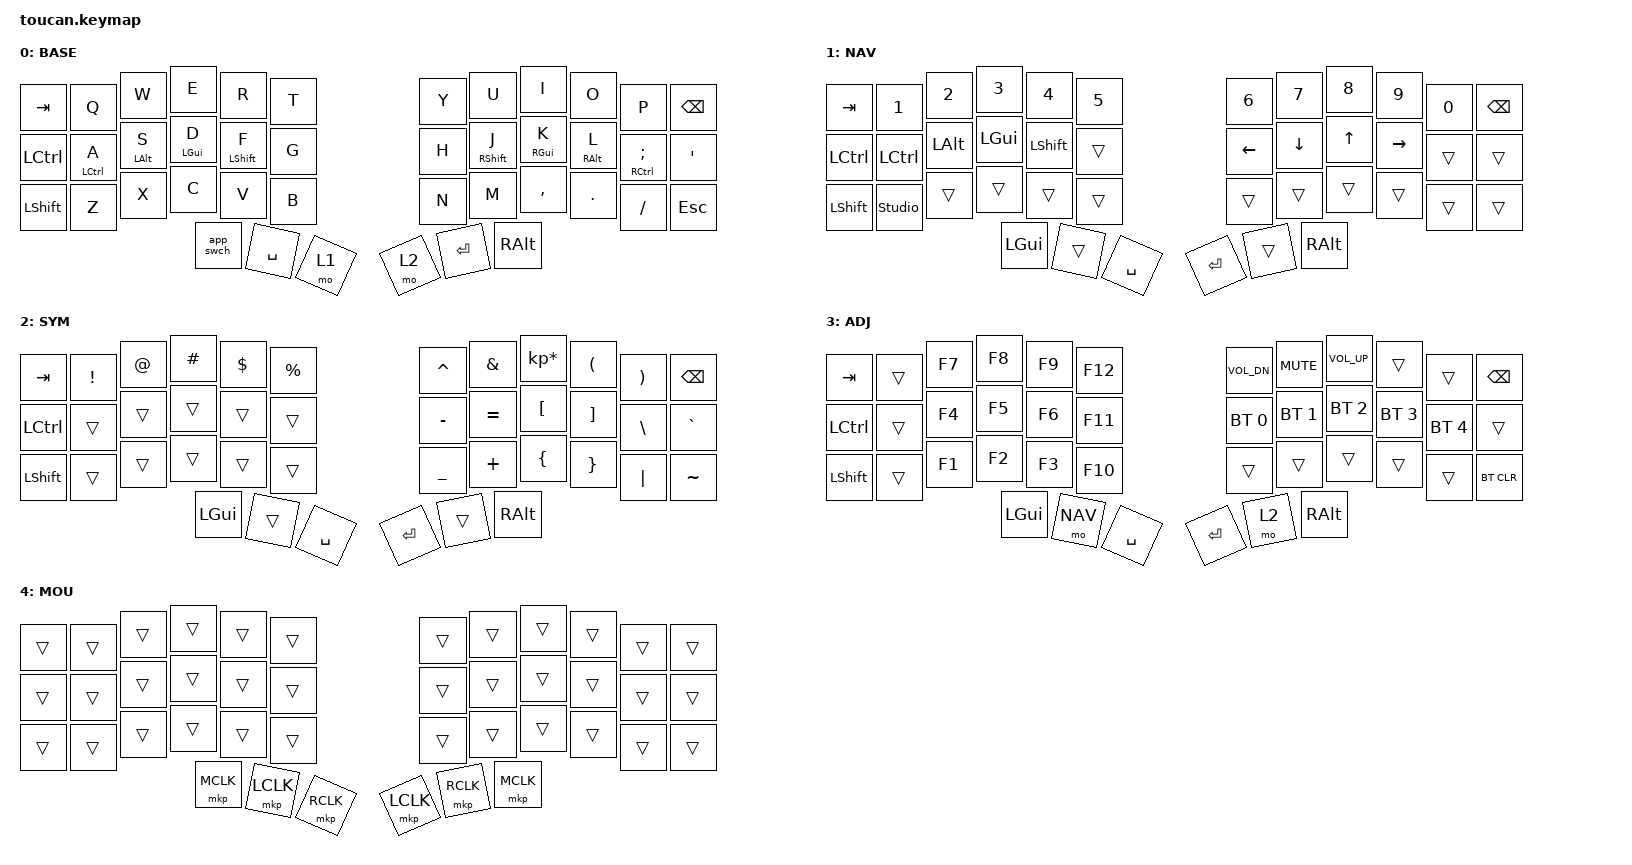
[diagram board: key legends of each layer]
#include <behaviors.dtsi>
#include <dt-bindings/zmk/keys.h>
#include <dt-bindings/zmk/bt.h>
#include <dt-bindings/zmk/outputs.h>
#include <dt-bindings/zmk/pointing.h>

#define BASE 0
#define NAV  1
#define SYM  2
#define ADJ  3

// Key positions for chordal hold (see toucan.dtsi)
#define KEYS_L 0 1 2 3 4 5 12 13 14 15 16 17 24 25 26 27 28 29
#define KEYS_R 6 7 8 9 10 11 18 19 20 21 22 23 30 31 32 33 34 35
#define THUMBS 36 37 38 39 40 41

/ {
    conditional_layers {
        compatible = "zmk,conditional-layers";
        tri_layer {
            if-layers = <1 2>;
            then-layer = <3>;
        };
    };

    behaviors {
        hml: home_row_mod_left {
            compatible = "zmk,behavior-hold-tap";
            #binding-cells = <2>;
            flavor = "balanced";
            tapping-term-ms = <280>;
            quick-tap-ms = <175>;
            require-prior-idle-ms = <150>;
            bindings = <&kp>, <&kp>;
            hold-trigger-key-positions = <KEYS_R THUMBS>;
            hold-trigger-on-release;
        };

        hmr: home_row_mod_right {
            compatible = "zmk,behavior-hold-tap";
            #binding-cells = <2>;
            flavor = "balanced";
            tapping-term-ms = <280>;
            quick-tap-ms = <175>;
            require-prior-idle-ms = <150>;
            bindings = <&kp>, <&kp>;
            hold-trigger-key-positions = <KEYS_L THUMBS>;
            hold-trigger-on-release;
        };
    };

    macros {
        // macOS app switcher: hold Cmd, tap Tab, keep Cmd held until key release
        app_swch: app_switch {
            compatible = "zmk,behavior-macro";
            #binding-cells = <0>;
            wait-ms = <10>;
            tap-ms = <10>;
            bindings
                = <&macro_press &kp LGUI>
                , <&macro_tap &kp TAB>
                , <&macro_pause_for_release>
                , <&macro_release &kp LGUI>
                ;
        };
    };

    keymap {
        compatible = "zmk,keymap";

        base {
            display-name = "BASE";
            bindings = <
                &kp TAB   &kp Q &kp W &kp E &kp R &kp T   &kp Y &kp U  &kp I     &kp O   &kp P    &kp BSPC
                &kp LCTRL &hml LCTRL A &hml LALT S &hml LGUI D &hml LSHFT F &kp G   &kp H &hmr RSHFT J &hmr RGUI K &hmr RALT L &hmr RCTRL SEMI &kp SQT
                &kp LSHFT &kp Z &kp X &kp C &kp V &kp B   &kp N &kp M  &kp COMMA &kp DOT &kp FSLH &kp ESC
                                &app_swch &kp SPACE &mo 1   &mo 2 &kp RET   &kp RALT
            >;
        };

        nav {
            display-name = "NAV";
            bindings = <
                &kp TAB     &kp N1          &kp N2       &kp N3       &kp N4       &kp N5         &kp N6   &kp N7   &kp N8 &kp N9    &kp N0 &kp BSPC
                &kp LCTRL   &kp LCTRL       &kp LALT     &kp LGUI     &kp LSHFT    &trans         &kp LEFT &kp DOWN &kp UP &kp RIGHT &trans &trans
                &kp LSHFT   &studio_unlock  &trans       &trans       &trans       &trans         &trans   &trans   &trans &trans    &trans &trans
                                                &kp LGUI     &trans       &kp SPACE        &kp RET    &trans   &kp RALT
            >;
        };

        sym {
            display-name = "SYM";
            bindings = <
                &kp TAB   &kp EXCL &kp AT &kp HASH &kp DLLR &kp PRCNT   &kp CARET &kp AMPS  &kp KP_MULTIPLY &kp LPAR &kp RPAR &kp BSPC
                &kp LCTRL &trans   &trans &trans   &trans   &trans      &kp MINUS &kp EQUAL &kp LBKT        &kp RBKT &kp BSLH &kp GRAVE
                &kp LSHFT &trans   &trans &trans   &trans   &trans      &kp UNDER &kp PLUS  &kp LBRC        &kp RBRC &kp PIPE &kp TILDE
                                          &kp LGUI &trans   &kp SPACE   &kp RET     &trans    &kp RALT
            >;
        };

        adj {
            display-name = "ADJ";
            bindings = <
                &kp TAB   &trans &kp F7 &kp F8 &kp F9 &kp F12   &kp C_VOL_DN &kp C_MUTE  &kp C_VOL_UP &trans &trans &kp BSPC
                &kp LCTRL &trans &kp F4 &kp F5 &kp F6 &kp F11   &bt BT_SEL 0 &bt BT_SEL 1 &bt BT_SEL 2 &bt BT_SEL 3 &bt BT_SEL 4 &trans
                &kp LSHFT &trans &kp F1 &kp F2 &kp F3 &kp F10   &trans       &trans      &trans       &trans &trans &bt BT_CLR
                                   &kp LGUI &mo NAV &kp SPACE   &kp RET   &mo 2 &kp RALT
            >;
        };

        mouse {
            display-name = "MOU";
            bindings = <
                &trans &trans &trans &trans &trans &trans           &trans &trans &trans &trans &trans &trans
                &trans &trans &trans &trans &trans &trans           &trans &trans &trans &trans &trans &trans
                &trans &trans &trans &trans &trans &trans           &trans &trans &trans &trans &trans &trans
                            &mkp MCLK &mkp LCLK &mkp RCLK           &mkp LCLK &mkp RCLK &mkp MCLK
            >;
        };

        extra_2 {
                status = "reserved";
        };

        extra_3 {
                status = "reserved";
        };
    };
};
